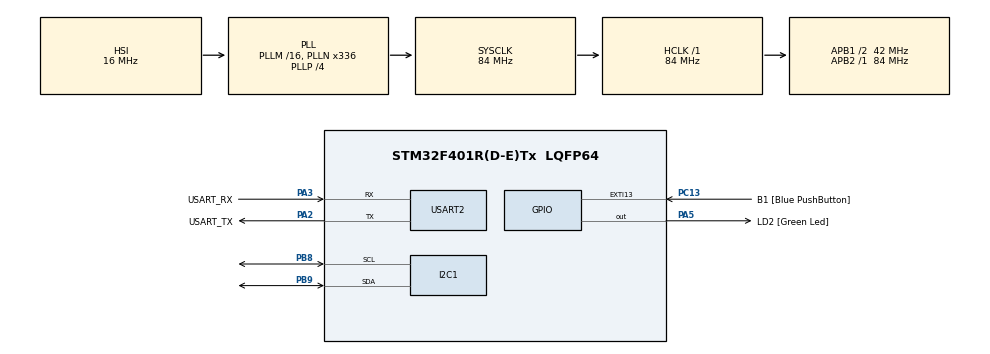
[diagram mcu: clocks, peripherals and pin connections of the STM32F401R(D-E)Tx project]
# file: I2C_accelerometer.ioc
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Dma.I2C1_RX.0.Direction=DMA_PERIPH_TO_MEMORY
Dma.I2C1_RX.0.FIFOMode=DMA_FIFOMODE_DISABLE
Dma.I2C1_RX.0.Instance=DMA1_Stream0
Dma.I2C1_RX.0.MemDataAlignment=DMA_MDATAALIGN_BYTE
Dma.I2C1_RX.0.MemInc=DMA_MINC_ENABLE
Dma.I2C1_RX.0.Mode=DMA_NORMAL
Dma.I2C1_RX.0.PeriphDataAlignment=DMA_PDATAALIGN_BYTE
Dma.I2C1_RX.0.PeriphInc=DMA_PINC_DISABLE
Dma.I2C1_RX.0.Priority=DMA_PRIORITY_LOW
Dma.Request0=I2C1_RX
Dma.Request1=USART2_TX
Dma.USART2_TX.1.Direction=DMA_MEMORY_TO_PERIPH
Dma.USART2_TX.1.FIFOMode=DMA_FIFOMODE_DISABLE
Dma.USART2_TX.1.Instance=DMA1_Stream6
Dma.USART2_TX.1.MemDataAlignment=DMA_MDATAALIGN_BYTE
Dma.USART2_TX.1.MemInc=DMA_MINC_ENABLE
Dma.USART2_TX.1.Mode=DMA_NORMAL
Dma.USART2_TX.1.PeriphDataAlignment=DMA_PDATAALIGN_BYTE
Dma.USART2_TX.1.PeriphInc=DMA_PINC_DISABLE
Dma.USART2_TX.1.Priority=DMA_PRIORITY_LOW
Mcu.Family=STM32F4
Mcu.Name=STM32F401R(D-E)Tx
Mcu.Package=LQFP64
NVIC.DMA1_Stream0_IRQn=true\:0\:0\:false\:false\:true\:false\:true\:true
NVIC.DMA1_Stream6_IRQn=true\:0\:0\:false\:false\:true\:false\:true\:true
NVIC.I2C1_ER_IRQn=true\:0\:0\:false\:false\:true\:true\:true\:true
NVIC.I2C1_EV_IRQn=true\:0\:0\:false\:false\:true\:true\:true\:true
NVIC.PriorityGroup=NVIC_PRIORITYGROUP_0
NVIC.TIM2_IRQn=true\:0\:0\:false\:false\:true\:true\:true\:true
NVIC.USART2_IRQn=true\:0\:0\:false\:false\:true\:true\:true\:true
PA13.GPIO_Label=TMS
PA13.Mode=Serial_Wire
PA13.Signal=SYS_JTMS-SWDIO
PA14.GPIO_Label=TCK
PA14.Mode=Serial_Wire
PA14.Signal=SYS_JTCK-SWCLK
PA2.GPIO_Label=USART_TX
PA2.GPIO_Mode=GPIO_MODE_AF_PP
PA2.GPIO_PuPd=GPIO_NOPULL
PA2.GPIO_Speed=GPIO_SPEED_FREQ_LOW
PA2.Mode=Asynchronous
PA2.Signal=USART2_TX
PA3.GPIO_Label=USART_RX
PA3.GPIO_Mode=GPIO_MODE_AF_PP
PA3.GPIO_PuPd=GPIO_NOPULL
PA3.GPIO_Speed=GPIO_SPEED_FREQ_LOW
PA3.Mode=Asynchronous
PA3.Signal=USART2_RX
PA5.GPIO_Label=LD2 [Green Led]
PA5.GPIO_Mode=GPIO_MODE_OUTPUT_PP
PA5.GPIO_PuPd=GPIO_NOPULL
PA5.GPIO_Speed=GPIO_SPEED_FREQ_LOW
PA5.Signal=GPIO_Output
PB3.GPIO_Label=SWO
PB3.Signal=SYS_JTDO-SWO
PB8.Mode=I2C
PB8.Signal=I2C1_SCL
PB9.Mode=I2C
PB9.Signal=I2C1_SDA
PC13-ANTI_TAMP.GPIO_Label=B1 [Blue PushButton]
PC13-ANTI_TAMP.GPIO_ModeDefaultEXTI=GPIO_MODE_IT_FALLING
PC13-ANTI_TAMP.GPIO_PuPd=GPIO_NOPULL
PC13-ANTI_TAMP.Signal=GPXTI13
PC14-OSC32_IN.Mode=LSE-External-Oscillator
PC14-OSC32_IN.Signal=RCC_OSC32_IN
PC15-OSC32_OUT.Mode=LSE-External-Oscillator
PC15-OSC32_OUT.Signal=RCC_OSC32_OUT
PH0\ -\ OSC_IN.Mode=HSE-External-Clock-Source
PH0\ -\ OSC_IN.Signal=RCC_OSC_IN
PH1\ -\ OSC_OUT.Mode=HSE-External-Clock-Source
PH1\ -\ OSC_OUT.Signal=RCC_OSC_OUT
ProjectManager.HeapSize=0x200
ProjectManager.StackSize=0x400
ProjectManager.TargetToolchain=STM32CubeIDE
RCC.48MHZClocksFreq_Value=48000000
RCC.AHBFreq_Value=84000000
RCC.APB1CLKDivider=RCC_HCLK_DIV2
RCC.APB1Freq_Value=42000000
RCC.APB1TimFreq_Value=84000000
RCC.APB2Freq_Value=84000000
RCC.APB2TimFreq_Value=84000000
RCC.CortexFreq_Value=84000000
RCC.HCLKFreq_Value=84000000
RCC.HSE_VALUE=8000000
RCC.HSI_VALUE=16000000
RCC.PLLN=336
RCC.PLLP=RCC_PLLP_DIV4
RCC.PLLQ=7
RCC.SYSCLKFreq_VALUE=84000000
RCC.SYSCLKSource=RCC_SYSCLKSOURCE_PLLCLK
RCC.VCOOutputFreq_Value=336000000
TIM2.Period=(TEMPO*10) - 1
TIM2.Prescaler=8400 - 1
USART2.VirtualMode=VM_ASYNC
VP_TIM2_VS_ClockSourceINT.Mode=Internal
board=NUCLEO-F401RE

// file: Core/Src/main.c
/* USER CODE BEGIN Header */
/**
  ******************************************************************************
  * @file           : main.c
  * @brief          : Main program body
  ******************************************************************************
  * @attention
  *
  * Copyright (c) 2024 STMicroelectronics.
  * All rights reserved.
  *
  * This software is licensed under terms that can be found in the LICENSE file
  * in the root directory of this software component.
  * If no LICENSE file comes with this software, it is provided AS-IS.
  *
  ******************************************************************************
  */
/* USER CODE END Header */
#include "main.h"

/* USER CODE BEGIN PD */
#define TEMPO 1000
/* USER CODE END PD */

I2C_HandleTypeDef hi2c1;
DMA_HandleTypeDef hdma_i2c1_rx;

TIM_HandleTypeDef htim2;

UART_HandleTypeDef huart2;
DMA_HandleTypeDef hdma_usart2_tx;

/* USER CODE BEGIN PV */

//LIS2DE and LIS2DE12 write and read addresses

uint16_t LIS2DE_WR_ADDRESS = 0b01010000;
uint16_t LIS2DE_RD_ADDRESS = 0b01010001;

uint16_t LIS2DE12_WR_ADDRESS = 0b00110000;
uint16_t LIS2DE12_RD_ADDRESS = 0b00110001;

uint8_t CTRL_REG1[] = {0x20, 0b00010111}; //reg address, 1Hz + normal mode + XYZ enabled
uint8_t CTRL_REG2[] = {0x21, 0b00000000}; //reg address, no HPF (default value at startup)
uint8_t CTRL_REG4[] = {0x23, 0b00000000}; //reg address, continuos update + 2g FSR + self test disabled (default value at st)

uint16_t MEMS_REGISTER_X_AUTO_INCREMENT = 0x29 | 0x80; // Setting MSB to 1 to enable auto-increment

uint16_t size = 1; // #Bytes of initial I2C transmissions
uint16_t multiple_size = 5; // #Bytes to read (X, Y, Z)
uint32_t timeout = 10; // Timeout for initial I2C transmissions

char string[64];
int string_length = 0;

int8_t xyz_data[5]; // Array to hold X, Y, Z data

float x_gvalue = 0;
float y_gvalue = 0;
float z_gvalue = 0;
/* USER CODE END PV */

void SystemClock_Config(void);
static void MX_GPIO_Init(void);
static void MX_DMA_Init(void);
static void MX_USART2_UART_Init(void);
static void MX_I2C1_Init(void);
static void MX_TIM2_Init(void);

/* USER CODE BEGIN 0 */

void HAL_TIM_PeriodElapsedCallback (TIM_HandleTypeDef *htim)
{

	if(htim == &htim2)
	{
		xyz_data[0] = 0;
		xyz_data[2] = 0;
		xyz_data[4] = 0;

		HAL_I2C_Master_Receive_DMA(&hi2c1, LIS2DE_RD_ADDRESS, (uint8_t*)xyz_data, multiple_size); //Get xyz values, The sensor knows that has to start from x
	}

}

void HAL_I2C_MasterRxCpltCallback (I2C_HandleTypeDef *hi2c)
{

	if(hi2c == &hi2c1)
	{
		x_gvalue = xyz_data[0] / 64.0;
		y_gvalue = xyz_data[2] / 64.0;
		z_gvalue = xyz_data[4] / 64.0;

		string_length = snprintf(string, sizeof(string), "X: %.2fg, Y: %.2fg, Z: %.2fg\n", x_gvalue, y_gvalue, z_gvalue);
		HAL_UART_Transmit_DMA(&huart2, (uint8_t*)string, string_length);
	}

}

/* USER CODE END 0 */

int main(void)
{

  /* MCU Configuration--------------------------------------------------------*/

  /* Reset of all peripherals, Initializes the Flash interface and the Systick. */
  HAL_Init();

  /* Configure the system clock */
  SystemClock_Config();

  /* Initialize all configured peripherals */
  MX_GPIO_Init();
  MX_DMA_Init();
  MX_USART2_UART_Init();
  MX_I2C1_Init();
  MX_TIM2_Init();
  /* USER CODE BEGIN 2 */

	if (HAL_I2C_Master_Transmit(&hi2c1, LIS2DE_WR_ADDRESS, CTRL_REG1, sizeof(CTRL_REG1), timeout) == HAL_OK)
	{
	  string_length = snprintf(string, sizeof(string), "LIS2DE found!\n");
	}
	else
	{
		if (HAL_I2C_Master_Transmit(&hi2c1, LIS2DE12_WR_ADDRESS, CTRL_REG1, sizeof(CTRL_REG1), timeout) == HAL_OK)
		{
		  string_length = snprintf(string, sizeof(string), "LIS2DE12 found!\n");

		  LIS2DE_WR_ADDRESS = LIS2DE12_WR_ADDRESS;
		  LIS2DE_RD_ADDRESS = LIS2DE12_RD_ADDRESS;
		}
		else
		{
			string_length = snprintf(string, sizeof(string), "Error! No device found!\n");
		}
	}

	HAL_UART_Transmit_DMA(&huart2, (uint8_t*)string, string_length);

	HAL_I2C_Master_Transmit(&hi2c1, LIS2DE_WR_ADDRESS, CTRL_REG2, sizeof(CTRL_REG2), timeout);
	HAL_I2C_Master_Transmit(&hi2c1, LIS2DE_WR_ADDRESS, CTRL_REG4, sizeof(CTRL_REG4), timeout);

	HAL_I2C_Master_Transmit(&hi2c1, LIS2DE_WR_ADDRESS, (uint8_t*)&MEMS_REGISTER_X_AUTO_INCREMENT, size, timeout);  //Send the autoincrement is needed just one time,
																												   //the i2c is smart enough, but not every sensor are so smart

	HAL_TIM_Base_Start_IT(&htim2);

  /* USER CODE END 2 */

  /* Infinite loop */
  while (1)
  {

  }
}

void SystemClock_Config(void)
{
  RCC_OscInitTypeDef RCC_OscInitStruct = {0};
  RCC_ClkInitTypeDef RCC_ClkInitStruct = {0};

  /** Configure the main internal regulator output voltage
  */
  __HAL_RCC_PWR_CLK_ENABLE();
  __HAL_PWR_VOLTAGESCALING_CONFIG(PWR_REGULATOR_VOLTAGE_SCALE2);

  /** Initializes the RCC Oscillators according to the specified parameters
  * in the RCC_OscInitTypeDef structure.
  */
  RCC_OscInitStruct.OscillatorType = RCC_OSCILLATORTYPE_HSI;
  RCC_OscInitStruct.HSIState = RCC_HSI_ON;
  RCC_OscInitStruct.HSICalibrationValue = RCC_HSICALIBRATION_DEFAULT;
  RCC_OscInitStruct.PLL.PLLState = RCC_PLL_ON;
  RCC_OscInitStruct.PLL.PLLSource = RCC_PLLSOURCE_HSI;
  RCC_OscInitStruct.PLL.PLLM = 16;
  RCC_OscInitStruct.PLL.PLLN = 336;
  RCC_OscInitStruct.PLL.PLLP = RCC_PLLP_DIV4;
  RCC_OscInitStruct.PLL.PLLQ = 7;
  if (HAL_RCC_OscConfig(&RCC_OscInitStruct) != HAL_OK)
  {
    Error_Handler();
  }

  /** Initializes the CPU, AHB and APB buses clocks
  */
  RCC_ClkInitStruct.ClockType = RCC_CLOCKTYPE_HCLK|RCC_CLOCKTYPE_SYSCLK
                              |RCC_CLOCKTYPE_PCLK1|RCC_CLOCKTYPE_PCLK2;
  RCC_ClkInitStruct.SYSCLKSource = RCC_SYSCLKSOURCE_PLLCLK;
  RCC_ClkInitStruct.AHBCLKDivider = RCC_SYSCLK_DIV1;
  RCC_ClkInitStruct.APB1CLKDivider = RCC_HCLK_DIV2;
  RCC_ClkInitStruct.APB2CLKDivider = RCC_HCLK_DIV1;

  if (HAL_RCC_ClockConfig(&RCC_ClkInitStruct, FLASH_LATENCY_2) != HAL_OK)
  {
    Error_Handler();
  }
}

static void MX_I2C1_Init(void)
{

  hi2c1.Instance = I2C1;
  hi2c1.Init.ClockSpeed = 100000;
  hi2c1.Init.DutyCycle = I2C_DUTYCYCLE_2;
  hi2c1.Init.OwnAddress1 = 0;
  hi2c1.Init.AddressingMode = I2C_ADDRESSINGMODE_7BIT;
  hi2c1.Init.DualAddressMode = I2C_DUALADDRESS_DISABLE;
  hi2c1.Init.OwnAddress2 = 0;
  hi2c1.Init.GeneralCallMode = I2C_GENERALCALL_DISABLE;
  hi2c1.Init.NoStretchMode = I2C_NOSTRETCH_DISABLE;
  if (HAL_I2C_Init(&hi2c1) != HAL_OK)
  {
    Error_Handler();
  }

}

static void MX_TIM2_Init(void)
{

  TIM_ClockConfigTypeDef sClockSourceConfig = {0};
  TIM_MasterConfigTypeDef sMasterConfig = {0};

  htim2.Instance = TIM2;
  htim2.Init.Prescaler = 8400 - 1;
  htim2.Init.CounterMode = TIM_COUNTERMODE_UP;
  htim2.Init.Period = (TEMPO*10) - 1;
  htim2.Init.ClockDivision = TIM_CLOCKDIVISION_DIV1;
  htim2.Init.AutoReloadPreload = TIM_AUTORELOAD_PRELOAD_DISABLE;
  if (HAL_TIM_Base_Init(&htim2) != HAL_OK)
  {
    Error_Handler();
  }
  sClockSourceConfig.ClockSource = TIM_CLOCKSOURCE_INTERNAL;
  if (HAL_TIM_ConfigClockSource(&htim2, &sClockSourceConfig) != HAL_OK)
  {
    Error_Handler();
  }
  sMasterConfig.MasterOutputTrigger = TIM_TRGO_RESET;
  sMasterConfig.MasterSlaveMode = TIM_MASTERSLAVEMODE_DISABLE;
  if (HAL_TIMEx_MasterConfigSynchronization(&htim2, &sMasterConfig) != HAL_OK)
  {
    Error_Handler();
  }

}

static void MX_USART2_UART_Init(void)
{

  huart2.Instance = USART2;
  huart2.Init.BaudRate = 115200;
  huart2.Init.WordLength = UART_WORDLENGTH_8B;
  huart2.Init.StopBits = UART_STOPBITS_1;
  huart2.Init.Parity = UART_PARITY_NONE;
  huart2.Init.Mode = UART_MODE_TX_RX;
  huart2.Init.HwFlowCtl = UART_HWCONTROL_NONE;
  huart2.Init.OverSampling = UART_OVERSAMPLING_16;
  if (HAL_UART_Init(&huart2) != HAL_OK)
  {
    Error_Handler();
  }

}

static void MX_DMA_Init(void)
{

  /* DMA controller clock enable */
  __HAL_RCC_DMA1_CLK_ENABLE();

  /* DMA interrupt init */
  /* DMA1_Stream0_IRQn interrupt configuration */
  HAL_NVIC_SetPriority(DMA1_Stream0_IRQn, 0, 0);
  HAL_NVIC_EnableIRQ(DMA1_Stream0_IRQn);
  /* DMA1_Stream6_IRQn interrupt configuration */
  HAL_NVIC_SetPriority(DMA1_Stream6_IRQn, 0, 0);
  HAL_NVIC_EnableIRQ(DMA1_Stream6_IRQn);

}

static void MX_GPIO_Init(void)
{
  GPIO_InitTypeDef GPIO_InitStruct = {0};

  /* GPIO Ports Clock Enable */
  __HAL_RCC_GPIOC_CLK_ENABLE();
  __HAL_RCC_GPIOH_CLK_ENABLE();
  __HAL_RCC_GPIOA_CLK_ENABLE();
  __HAL_RCC_GPIOB_CLK_ENABLE();

  /*Configure GPIO pin Output Level */
  HAL_GPIO_WritePin(LD2_GPIO_Port, LD2_Pin, GPIO_PIN_RESET);

  /*Configure GPIO pin : B1_Pin */
  GPIO_InitStruct.Pin = B1_Pin;
  GPIO_InitStruct.Mode = GPIO_MODE_IT_FALLING;
  GPIO_InitStruct.Pull = GPIO_NOPULL;
  HAL_GPIO_Init(B1_GPIO_Port, &GPIO_InitStruct);

  /*Configure GPIO pin : LD2_Pin */
  GPIO_InitStruct.Pin = LD2_Pin;
  GPIO_InitStruct.Mode = GPIO_MODE_OUTPUT_PP;
  GPIO_InitStruct.Pull = GPIO_NOPULL;
  GPIO_InitStruct.Speed = GPIO_SPEED_FREQ_LOW;
  HAL_GPIO_Init(LD2_GPIO_Port, &GPIO_InitStruct);

}

void Error_Handler(void)
{
  __disable_irq();
  while (1)
  {
  }
}
